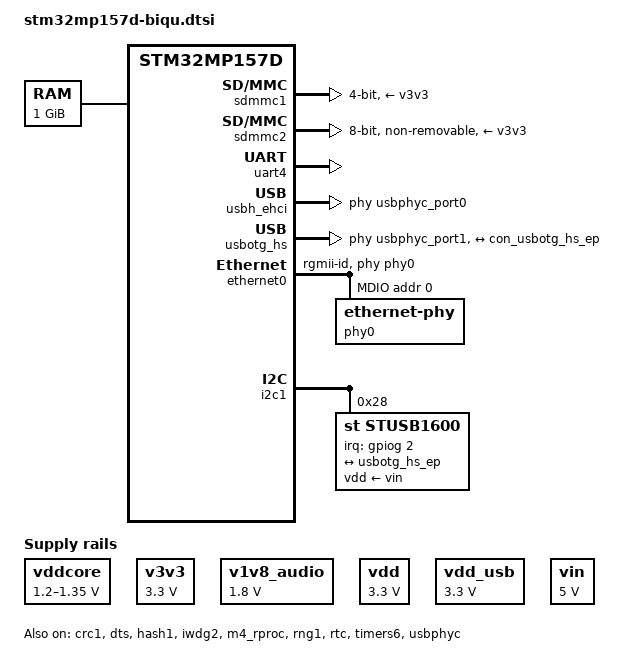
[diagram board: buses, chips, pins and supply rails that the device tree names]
// SPDX-License-Identifier: (GPL-2.0+ OR BSD-3-Clause)
/*
 * Copyright (C) STMicroelectronics 2017 - All Rights Reserved
 * Author: Ludovic Barre <ludovic.barre@st.com> for STMicroelectronics.
 */

#include <dt-bindings/gpio/gpio.h>
#include <dt-bindings/mfd/st,stpmic1.h>

/ {
	memory@c0000000 {
		device_type = "memory";
		reg = <0xC0000000 0x40000000>;
	};

	reserved-memory {
		#address-cells = <1>;
		#size-cells = <1>;
		ranges;

		mcuram2: mcuram2@10000000 {
			compatible = "shared-dma-pool";
			reg = <0x10000000 0x40000>;
			no-map;
		};

		vdev0vring0: vdev0vring0@10040000 {
			compatible = "shared-dma-pool";
			reg = <0x10040000 0x1000>;
			no-map;
		};

		vdev0vring1: vdev0vring1@10041000 {
			compatible = "shared-dma-pool";
			reg = <0x10041000 0x1000>;
			no-map;
		};

		vdev0buffer: vdev0buffer@10042000 {
			compatible = "shared-dma-pool";
			reg = <0x10042000 0x4000>;
			no-map;
		};

		mcuram: mcuram@30000000 {
			compatible = "shared-dma-pool";
			reg = <0x30000000 0x40000>;
			no-map;
		};

		retram: retram@38000000 {
			compatible = "shared-dma-pool";
			reg = <0x38000000 0x10000>;
			no-map;
		};
	};

	usb_phy_tuning: usb-phy-tuning {
		st,hs-dc-level = <2>;
		st,fs-rftime-tuning;
		st,hs-rftime-reduction;
		st,hs-current-trim = <15>;
		st,hs-impedance-trim = <1>;
		st,squelch-level = <3>;
		st,hs-rx-offset = <2>;
		st,no-lsfs-sc;
	};

	vddcore: regulator-vddcore {
		compatible = "regulator-fixed";
		regulator-name = "vddcore";
		regulator-min-microvolt = <1200000>;
		regulator-max-microvolt = <1350000>;
		regulator-always-on;
		regulator-boot-on;
	};

	v3v3: regulator-3p3v {
		compatible = "regulator-fixed";
		regulator-name = "v3v3";
		regulator-min-microvolt = <3300000>;
		regulator-max-microvolt = <3300000>;
		regulator-always-on;
		regulator-boot-on;
	};

	v1v8_audio: regulator-v1v8-audio {
		compatible = "regulator-fixed";
		regulator-name = "v1v8_audio";
		regulator-min-microvolt = <1800000>;
		regulator-max-microvolt = <1800000>;
		regulator-always-on;
		regulator-boot-on;
	};

	vdd: regulator-vdd {
		compatible = "regulator-fixed";
		regulator-name = "vdd";
		regulator-min-microvolt = <3300000>;
		regulator-max-microvolt = <3300000>;
		regulator-always-on;
		regulator-boot-on;
	};

	vdd_usb: regulator-vdd-usb {
		compatible = "regulator-fixed";
		regulator-name = "vdd_usb";
		regulator-min-microvolt = <3300000>;
		regulator-max-microvolt = <3300000>;
		regulator-always-on;
		regulator-boot-on;
	};

	vin: vin {
		compatible = "regulator-fixed";
		regulator-name = "vin";
		regulator-min-microvolt = <5000000>;
		regulator-max-microvolt = <5000000>;
		regulator-always-on;
	};
};

&cpu0{
	cpu-supply = <&vddcore>;
};

&crc1 {
	status = "okay";
};

&dma1 {
	sram = <&dma_pool>;
};

&dma2 {
	sram = <&dma_pool>;
};

&dts {
	status = "okay";
};

&hash1 {
	status = "okay";
};

&ipcc {
	status = "okay";
};

&iwdg2 {
	timeout-sec = <32>;
	status = "okay";
};

&m4_rproc {
	memory-region = <&retram>, <&mcuram>, <&mcuram2>, <&vdev0vring0>,
			<&vdev0vring1>, <&vdev0buffer>;
	mboxes = <&ipcc 0>, <&ipcc 1>, <&ipcc 2>;
	mbox-names = "vq0", "vq1", "shutdown";
	interrupt-parent = <&exti>;
	interrupts = <68 1>;
	wakeup-source;
	status = "okay";
};

&pwr_regulators {
	vdd-supply = <&vdd>;
	vdd_3v3_usbfs-supply = <&vdd_usb>;
};

&rng1 {
	status = "okay";
};

&rtc {
	status = "okay";
};

&sdmmc1 {
	pinctrl-names = "default", "opendrain", "sleep";
	pinctrl-0 = <&sdmmc1_b4_pins_a>;
	pinctrl-1 = <&sdmmc1_b4_od_pins_a>;
	pinctrl-2 = <&sdmmc1_b4_sleep_pins_a>;
	st,neg-edge;
	broken-cd;
	bus-width = <4>;
	vmmc-supply = <&v3v3>;
	status = "okay";
};

&sdmmc2 {
	pinctrl-names = "default", "opendrain", "sleep";
	pinctrl-0 = <&sdmmc2_b4_pins_a &sdmmc2_d47_pins_a>;
	pinctrl-1 = <&sdmmc2_b4_od_pins_a &sdmmc2_d47_pins_a>;
	pinctrl-2 = <&sdmmc2_b4_sleep_pins_a &sdmmc2_d47_sleep_pins_a>;
	non-removable;
	st,neg-edge;
	bus-width = <8>;
	vmmc-supply = <&v3v3>;
	keep-power-in-suspend;
	status = "okay";
};

&sram {
	dma_pool: dma_pool@0 {
		reg = <0x50000 0x10000>;
		pool;
	};
};

&timers6 {
	status = "okay";
	/* spare dmas for other usage */
	/delete-property/dmas;
	/delete-property/dma-names;
	timer@5 {
		status = "okay";
	};
};

&uart4 {
	pinctrl-names = "default", "sleep", "idle";
	pinctrl-0 = <&uart4_pins_a>;
	pinctrl-1 = <&uart4_sleep_pins_a>;
	pinctrl-2 = <&uart4_idle_pins_a>;
	pinctrl-3 = <&uart4_pins_a>;
	/delete-property/dmas;
	/delete-property/dma-names;
	status = "okay";
};

&usbh_ehci {
	phys = <&usbphyc_port0>;
	status = "okay";
};

&usbotg_hs {
	phys = <&usbphyc_port1 0>;
	phy-names = "usb2-phy";
	usb-role-switch;
	status = "okay";

	port {
		usbotg_hs_ep: endpoint {
			remote-endpoint = <&con_usbotg_hs_ep>;
		};
	};
};

&usbphyc {
	status = "okay";
};

&usbphyc_port0 {
	phy-supply = <&vdd_usb>;
};

&usbphyc_port1 {
	phy-supply = <&vdd_usb>;
};

&ethernet0 {
	status = "okay";
	pinctrl-0 = <&ethernet0_rgmii_pins_a>;
	pinctrl-1 = <&ethernet0_rgmii_pins_sleep_a>;
	pinctrl-names = "default", "sleep";
	phy-mode = "rgmii-id";
	max-speed = <1000>;
	phy-handle = <&phy0>;

	mdio0 {
		#address-cells = <1>;
		#size-cells = <0>;
		compatible = "snps,dwmac-mdio";
		phy0: ethernet-phy@0 {
			reg = <0>;
		};
	};
};

&i2c1 {
	pinctrl-names = "default", "sleep";
	pinctrl-0 = <&i2c1_pins_a>;
	pinctrl-1 = <&i2c1_pins_sleep_a>;
	i2c-scl-rising-time-ns = <100>;
	i2c-scl-falling-time-ns = <7>;
	status = "okay";
	/delete-property/dmas;
	/delete-property/dma-names;

	stusb1600@28 {
		compatible = "st,stusb1600";
		reg = <0x28>;
		interrupts = <2 IRQ_TYPE_EDGE_FALLING>;
		interrupt-parent = <&gpiog>;
		pinctrl-names = "default";
		pinctrl-0 = <&stusb1600_pins_a>;
		status = "okay";
		vdd-supply = <&vin>;

		connector {
			compatible = "usb-c-connector";
			label = "USB-C";
			power-role = "dual";
			power-opmode = "default";

			port {
				con_usbotg_hs_ep: endpoint {
					remote-endpoint = <&usbotg_hs_ep>;
				};
			};
		};
	};
};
